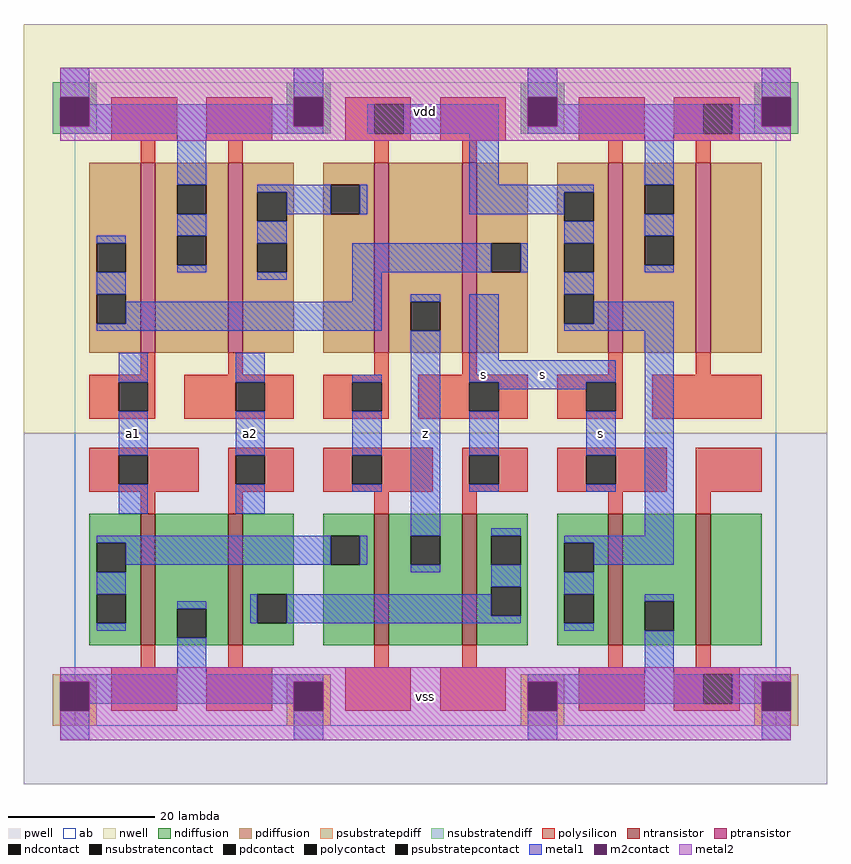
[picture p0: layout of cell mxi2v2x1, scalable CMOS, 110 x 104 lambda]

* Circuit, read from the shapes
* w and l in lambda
.subckt mxi2v2x1 a1 a2 s vdd vss z
M1 vss a1 n1 vss nfet w=18 l=2
M2 n2 a2 vss vss nfet w=18 l=2
M3 z n3 n1 vss nfet w=18 l=2
M4 n2 s z vss nfet w=18 l=2
M5 vss s n3 vss nfet w=18 l=2
M6 n4 vss vss vss nfet w=18 l=2
M7 vdd a1 n5 vdd pfet w=26 l=2
M8 n6 a2 vdd vdd pfet w=26 l=2
M9 z n3 n6 vdd pfet w=26 l=2
M10 n5 s z vdd pfet w=26 l=2
M11 vdd s n3 vdd pfet w=26 l=2
M12 n7 vdd vdd vdd pfet w=26 l=2
.ends

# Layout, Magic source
magic
tech scmos
<< ab >>
rect 0 0 96 88
<< pwell >>
rect -7 -8 103 40
<< nwell >>
rect -7 40 103 96
<< polysilicon >>
rect 5 80 14 86
rect 18 80 27 86
rect 37 85 46 86
rect 37 81 41 85
rect 45 81 46 85
rect 37 80 46 81
rect 50 80 59 86
rect 69 80 78 86
rect 82 85 91 86
rect 82 81 86 85
rect 90 81 91 85
rect 82 80 91 81
rect 9 77 11 80
rect 21 77 23 80
rect 41 77 43 80
rect 53 77 55 80
rect 73 77 75 80
rect 85 77 87 80
rect 9 48 11 51
rect 21 48 23 51
rect 41 48 43 51
rect 53 48 55 51
rect 73 48 75 51
rect 85 48 87 51
rect 2 47 11 48
rect 2 43 6 47
rect 10 43 11 47
rect 2 42 11 43
rect 15 47 30 48
rect 15 43 22 47
rect 26 43 30 47
rect 15 42 30 43
rect 34 47 43 48
rect 34 43 38 47
rect 42 43 43 47
rect 34 42 43 43
rect 47 47 62 48
rect 47 43 54 47
rect 58 43 62 47
rect 47 42 62 43
rect 66 47 75 48
rect 66 43 70 47
rect 74 43 75 47
rect 66 42 75 43
rect 79 42 94 48
rect 2 37 17 38
rect 2 33 6 37
rect 10 33 17 37
rect 2 32 17 33
rect 21 37 30 38
rect 21 33 22 37
rect 26 33 30 37
rect 21 32 30 33
rect 34 37 49 38
rect 34 33 38 37
rect 42 33 49 37
rect 34 32 49 33
rect 53 37 62 38
rect 53 33 54 37
rect 58 33 62 37
rect 53 32 62 33
rect 66 37 81 38
rect 66 33 70 37
rect 74 33 81 37
rect 66 32 81 33
rect 85 32 94 38
rect 9 29 11 32
rect 21 29 23 32
rect 41 29 43 32
rect 53 29 55 32
rect 73 29 75 32
rect 85 29 87 32
rect 9 8 11 11
rect 21 8 23 11
rect 41 8 43 11
rect 53 8 55 11
rect 73 8 75 11
rect 85 8 87 11
rect 5 2 14 8
rect 18 2 27 8
rect 37 2 46 8
rect 50 2 59 8
rect 69 2 78 8
rect 82 7 91 8
rect 82 3 86 7
rect 90 3 91 7
rect 82 2 91 3
<< ndiffusion >>
rect 2 25 9 29
rect 2 21 3 25
rect 7 21 9 25
rect 2 18 9 21
rect 2 14 3 18
rect 7 14 9 18
rect 2 11 9 14
rect 11 16 21 29
rect 11 12 14 16
rect 18 12 21 16
rect 11 11 21 12
rect 23 18 30 29
rect 23 14 25 18
rect 29 14 30 18
rect 23 11 30 14
rect 34 26 41 29
rect 34 22 35 26
rect 39 22 41 26
rect 34 11 41 22
rect 43 26 53 29
rect 43 22 46 26
rect 50 22 53 26
rect 43 11 53 22
rect 55 26 62 29
rect 55 22 57 26
rect 61 22 62 26
rect 55 19 62 22
rect 55 15 57 19
rect 61 15 62 19
rect 55 11 62 15
rect 66 25 73 29
rect 66 21 67 25
rect 71 21 73 25
rect 66 18 73 21
rect 66 14 67 18
rect 71 14 73 18
rect 66 11 73 14
rect 75 17 85 29
rect 75 13 78 17
rect 82 13 85 17
rect 75 11 85 13
rect 87 11 94 29
<< pdiffusion >>
rect 2 66 9 77
rect 2 62 3 66
rect 7 62 9 66
rect 2 59 9 62
rect 2 55 3 59
rect 7 55 9 59
rect 2 51 9 55
rect 11 74 21 77
rect 11 70 14 74
rect 18 70 21 74
rect 11 67 21 70
rect 11 63 14 67
rect 18 63 21 67
rect 11 51 21 63
rect 23 73 30 77
rect 23 69 25 73
rect 29 69 30 73
rect 23 66 30 69
rect 23 62 25 66
rect 29 62 30 66
rect 23 51 30 62
rect 34 74 41 77
rect 34 70 35 74
rect 39 70 41 74
rect 34 51 41 70
rect 43 58 53 77
rect 43 54 46 58
rect 50 54 53 58
rect 43 51 53 54
rect 55 66 62 77
rect 55 62 57 66
rect 61 62 62 66
rect 55 51 62 62
rect 66 73 73 77
rect 66 69 67 73
rect 71 69 73 73
rect 66 66 73 69
rect 66 62 67 66
rect 71 62 73 66
rect 66 59 73 62
rect 66 55 67 59
rect 71 55 73 59
rect 66 51 73 55
rect 75 74 85 77
rect 75 70 78 74
rect 82 70 85 74
rect 75 67 85 70
rect 75 63 78 67
rect 82 63 85 67
rect 75 51 85 63
rect 87 51 94 77
<< metal1 >>
rect -2 86 2 90
rect 30 86 34 90
rect 2 82 30 85
rect 62 86 66 90
rect -2 81 34 82
rect 40 81 41 85
rect 45 81 58 85
rect 94 86 98 90
rect 66 82 86 85
rect 62 81 86 82
rect 90 82 94 85
rect 90 81 98 82
rect 14 74 18 81
rect 54 74 58 81
rect 78 74 82 81
rect 14 67 18 70
rect 3 66 7 67
rect 14 62 18 63
rect 25 73 35 74
rect 29 70 35 73
rect 39 70 40 74
rect 54 73 71 74
rect 54 70 67 73
rect 25 66 29 69
rect 67 66 71 69
rect 3 59 7 62
rect 25 61 29 62
rect 38 62 57 66
rect 61 62 62 66
rect 78 67 82 70
rect 78 62 82 63
rect 38 58 42 62
rect 67 59 71 62
rect 7 55 42 58
rect 3 54 42 55
rect 46 58 50 59
rect 6 47 10 51
rect 6 37 10 43
rect 6 29 10 33
rect 22 47 26 51
rect 22 37 26 43
rect 22 29 26 33
rect 38 47 42 48
rect 38 37 42 43
rect 38 32 42 33
rect 46 26 50 54
rect 54 50 58 59
rect 71 55 82 58
rect 67 54 82 55
rect 54 47 74 50
rect 58 46 70 47
rect 54 37 58 43
rect 54 32 58 33
rect 70 37 74 43
rect 70 32 74 33
rect 3 25 35 26
rect 7 22 35 25
rect 39 22 40 26
rect 46 21 50 22
rect 57 26 61 27
rect 78 26 82 54
rect 3 18 7 21
rect 57 19 61 22
rect 3 13 7 14
rect 14 16 18 17
rect 24 14 25 18
rect 29 15 57 18
rect 29 14 61 15
rect 67 25 82 26
rect 71 22 82 25
rect 67 18 71 21
rect 67 13 71 14
rect 78 17 82 18
rect 14 7 18 12
rect 78 7 82 13
rect -2 6 34 7
rect 2 3 30 6
rect -2 -2 2 2
rect 30 -2 34 2
rect 62 6 86 7
rect 66 3 86 6
rect 90 6 98 7
rect 90 3 94 6
rect 62 -2 66 2
rect 94 -2 98 2
<< metal2 >>
rect -2 86 98 90
rect 2 82 30 86
rect 34 82 62 86
rect 66 82 94 86
rect -2 80 98 82
rect -2 6 98 8
rect 2 2 30 6
rect 34 2 62 6
rect 66 2 94 6
rect -2 -2 98 2
<< ntransistor >>
rect 9 11 11 29
rect 21 11 23 29
rect 41 11 43 29
rect 53 11 55 29
rect 73 11 75 29
rect 85 11 87 29
<< ptransistor >>
rect 9 51 11 77
rect 21 51 23 77
rect 41 51 43 77
rect 53 51 55 77
rect 73 51 75 77
rect 85 51 87 77
<< polycontact >>
rect 41 81 45 85
rect 86 81 90 85
rect 6 43 10 47
rect 22 43 26 47
rect 38 43 42 47
rect 54 43 58 47
rect 70 43 74 47
rect 6 33 10 37
rect 22 33 26 37
rect 38 33 42 37
rect 54 33 58 37
rect 70 33 74 37
rect 86 3 90 7
<< ndcontact >>
rect 3 21 7 25
rect 3 14 7 18
rect 14 12 18 16
rect 25 14 29 18
rect 35 22 39 26
rect 46 22 50 26
rect 57 22 61 26
rect 57 15 61 19
rect 67 21 71 25
rect 67 14 71 18
rect 78 13 82 17
<< pdcontact >>
rect 3 62 7 66
rect 3 55 7 59
rect 14 70 18 74
rect 14 63 18 67
rect 25 69 29 73
rect 25 62 29 66
rect 35 70 39 74
rect 46 54 50 58
rect 57 62 61 66
rect 67 69 71 73
rect 67 62 71 66
rect 67 55 71 59
rect 78 70 82 74
rect 78 63 82 67
<< m2contact >>
rect -2 82 2 86
rect 30 82 34 86
rect 62 82 66 86
rect 94 82 98 86
rect -2 2 2 6
rect 30 2 34 6
rect 62 2 66 6
rect 94 2 98 6
<< psubstratepcontact >>
rect -2 2 2 6
rect 30 2 34 6
rect 62 2 66 6
rect 94 2 98 6
<< nsubstratencontact >>
rect -2 82 2 86
rect 30 82 34 86
rect 62 82 66 86
rect 94 82 98 86
<< psubstratepdiff >>
rect -3 6 3 7
rect -3 2 -2 6
rect 2 2 3 6
rect 29 6 35 7
rect 29 2 30 6
rect 34 2 35 6
rect 61 6 67 7
rect 61 2 62 6
rect 66 2 67 6
rect 93 6 99 7
rect 93 2 94 6
rect 98 2 99 6
rect -3 0 3 2
rect 29 0 35 2
rect 61 0 67 2
rect 93 0 99 2
<< nsubstratendiff >>
rect -3 86 3 88
rect 29 86 35 88
rect 61 86 67 88
rect 93 86 99 88
rect -3 82 -2 86
rect 2 82 3 86
rect -3 81 3 82
rect 29 82 30 86
rect 34 82 35 86
rect 29 81 35 82
rect 61 82 62 86
rect 66 82 67 86
rect 61 81 67 82
rect 93 82 94 86
rect 98 82 99 86
rect 93 81 99 82
<< labels >>
rlabel metal1 8 40 8 40 6 a1
rlabel metal1 24 40 24 40 6 a2
rlabel metal1 48 40 48 40 6 z
rlabel metal1 56 48 56 48 6 s
rlabel metal1 72 40 72 40 6 s
rlabel metal1 64 48 64 48 6 s
rlabel metal2 48 4 48 4 6 vss
rlabel metal2 48 84 48 84 6 vdd
<< end >>
